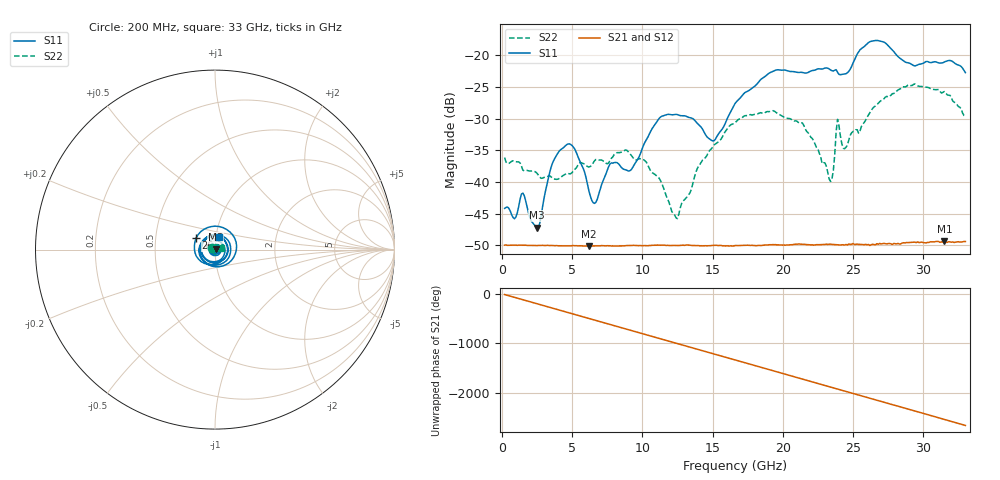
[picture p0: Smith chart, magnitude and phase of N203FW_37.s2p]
# GHZ S RI R 50
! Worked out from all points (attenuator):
!   329 points, 200 MHz to 33 GHz, reference 50 ohm
!   highest |S21| = -49.37 dB at 31.5 GHz (marker M1); lowest = -50.1 dB at 6.2 GHz (marker M2)
!   lowest |S11| = -47.2 dB at 2.5 GHz (marker M3), VSWR 1.01, Z = 50.4 + j0.247 ohm
!   |S11| at or under -10 dB: start of sweep to end of sweep
!   |S22| runs from -45.8 to -24.5 dB; largest |S21 - S12| = 8.8e-05
!   S11 on the Smith chart (normalised r, x): 200 MHz: 1.01, +0.01; 26 GHz: 0.80, +0.10; 33 GHz: 1.03, +0.15
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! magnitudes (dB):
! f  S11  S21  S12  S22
! 200 MHz  -44.2  -50.0  -49.9  -36.1
! 900 MHz  -45.8  -50.0  -49.9  -36.7
! 1.5 GHz  -41.8  -50.0  -50.0  -38.1
! 2.5 GHz  -47.2  -50.0  -50.0  -38.6
! 4.1 GHz  -35.1  -50.1  -50.1  -39.4
! 5.7 GHz  -37.4  -50.1  -50.1  -37.0
! 6.2 GHz  -41.4  -50.1  -50.1  -37.6
! 6.6 GHz  -43.4  -50.1  -50.1  -36.7
! 8.8 GHz  -38.1  -50.1  -50.0  -35.0
! 11.2 GHz  -30.0  -50.0  -50.0  -39.4
! 12.5 GHz  -29.4  -50.0  -50.0  -45.8
! 15.1 GHz  -33.5  -50.0  -50.0  -34.2
! 16.6 GHz  -27.6  -50.0  -50.0  -30.7
! 19.3 GHz  -22.6  -49.9  -49.9  -28.7
! 22.1 GHz  -22.4  -49.9  -49.9  -33.1
! 23.4 GHz  -22.3  -49.8  -49.8  -39.9
! 23.9 GHz  -22.7  -49.9  -49.9  -30.1
! 24.4 GHz  -23.0  -50.0  -49.9  -34.8
! 26 GHz  -18.2  -49.9  -49.9  -29.8
! 27.6 GHz  -18.7  -49.7  -49.7  -26.5
! 31.5 GHz  -21.1  -49.4  -49.3  -25.7
! 33 GHz  -22.7  -49.4  -49.4  -29.6
